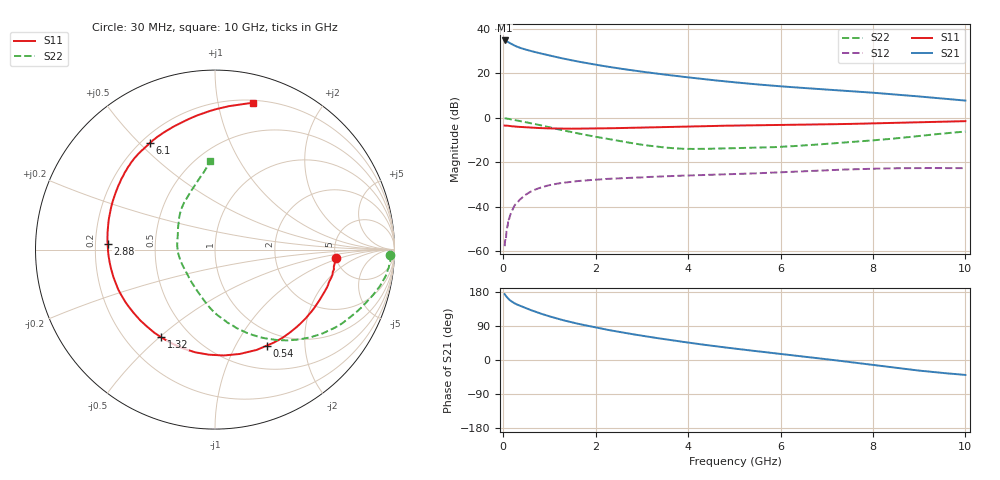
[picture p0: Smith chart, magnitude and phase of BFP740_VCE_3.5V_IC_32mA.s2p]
! Infineon Technologies  Discrete & RF Semiconductors
! BFP740
! VCE =  3.5 V,  IC =  32 mA
! Common Emitter S-Parameters:  Jan 2016
# GHz  S  MA  R  50
!  f  S11  S21  S12  S22
! GHz  MAG  ANG  MAG  ANG  MAG  ANG  MAG  ANG
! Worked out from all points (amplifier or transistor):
!   229 points, 30 MHz to 10 GHz, reference 50 ohm
!   highest |S21| = 34.9 dB at 30 MHz (marker M1)
!   |S21| within 3 dB of that: start of sweep to 323.8 MHz
!   unconditionally stable (mu >= 1): 6.019 GHz to 7.783 GHz; 8.117 GHz to 8.281 GHz; 9.148 GHz to 9.624 GHz
!   at 280 MHz: K = 0.30, MSG = 35.4 dB, |S12| = -38.6 dB
!   at 1.78 GHz: K = 0.51, MSG = 26.5 dB, |S12| = -28.1 dB
!   at 10 GHz: K = 0.99, MSG = 15.2 dB, |S12| = -22.6 dB
!   S11 on the Smith chart (normalised r, x): 30 MHz: 4.98, -0.84; 540 MHz: 0.80, -1.35; 1.32 GHz: 0.35, -0.51; 2.88 GHz: 0.25, +0.02; 6.1 GHz: 0.23, +0.54; 10 GHz: 0.22, +1.27
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0.03  0.6737 -3.9  55.35 173.9  0.0013 103.7  0.9758 -1.7
0.06  0.6688 -8.1  54.12 168.7  0.0019 63.8  0.9739 -4.9
0.11  0.6628 -14.7  50.85 161.6  0.0054 75.0  0.9584 -9.5
0.15  0.6562 -19.9  47.97 157.2  0.0065 78.4  0.9396 -12.7
0.2  0.6471 -25.7  44.87 152.8  0.0085 80.0  0.9157 -16.1
0.26  0.6391 -32.5  41.81 148.7  0.0112 76.1  0.8905 -19.6
0.34  0.6294 -41.2  38.59 144.2  0.0138 71.1  0.8585 -24.2
0.54  0.6077 -61.6  33.31 134.5  0.0203 62.3  0.7825 -34.8
0.7  0.5976 -76.6  30.14 127.3  0.0246 57.0  0.723 -42.5
0.9  0.5865 -93.4  26.88 119.0  0.0288 50.5  0.6488 -51.2
1.1  0.5788 -107.9  24.05 111.6  0.0323 45.2  0.5817 -58.9
1.32  0.5731 -121.6  21.44 104.3  0.035 40.7  0.5191 -66.3
1.7  0.5743 -141.2  17.93 93.4  0.0386 34.6  0.4314 -77.3
2.2  0.5839 -161.5  14.56 80.9  0.0421 29.3  0.3459 -91.3
2.88  0.5997 177.0  11.44 66.5  0.0456 24.3  0.261 -109.7
3.4  0.6158 163.7  9.718 56.6  0.0481 21.3  0.2216 -127.2
4.2  0.6459 146.4  7.748 42.6  0.0516 17.3  0.2008 -156.8
5.1  0.6761 132.5  6.196 28.7  0.055 14.0  0.2099 177.5
6.1  0.6964 121.5  5.052 14.9  0.0604 10.6  0.2261 156.2
6.8  0.7125 113.5  4.487 5.0  0.0651 6.8  0.2519 143.5
8.4  0.7729 92.1  3.425 -19.1  0.0734 -4.8  0.3388 115.5
10  0.8456 75.4  2.454 -39.4  0.0742 -15.0  0.4937 93.1
